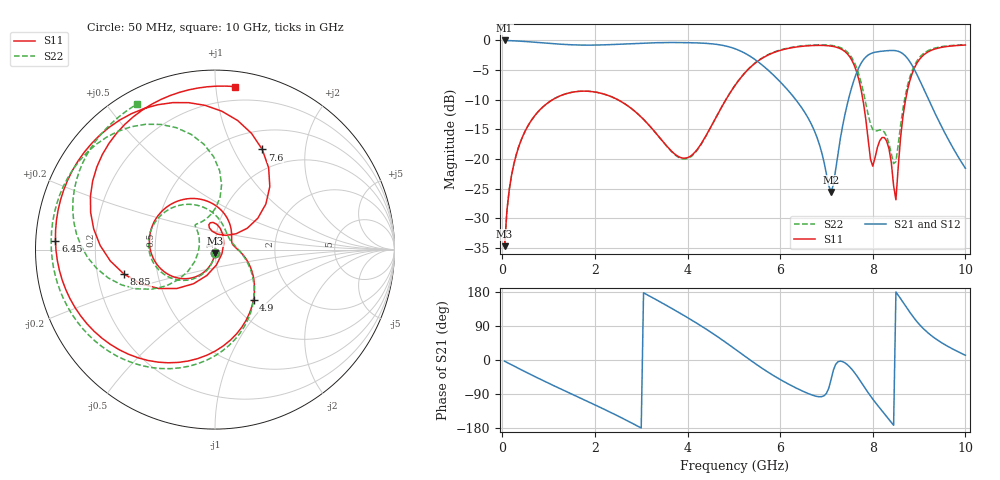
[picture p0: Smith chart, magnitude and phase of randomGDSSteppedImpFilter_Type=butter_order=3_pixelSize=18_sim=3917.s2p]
! freq	dB(S11)	phase(S11)	dB(S12)	phase(S12)
!  dB(S21)	phase(S21)	dB(S22)	phase(S22)
!S-par simulation data
#  GHz  S  DB  R 50
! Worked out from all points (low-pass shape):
!   200 points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, 50 MHz to 10 GHz, reference 50 ohm
!   highest |S21| = 0.00 dB at 50 MHz (marker M1); lowest = -25.6 dB at 7.1 GHz (marker M2)
!   |S21| within 3 dB of the highest: start of sweep to 5.417 GHz; 7.826 GHz to 8.746 GHz (920.5 MHz wide, 11.1 % of centre)
!   lowest |S11| = -34.7 dB at 50 MHz (marker M3), VSWR 1.04, Z = 49.9 - j1.83 ohm
!   |S11| at or under -10 dB: start of sweep to 1.086 GHz; 2.494 GHz to 4.828 GHz (2.334 GHz wide, 63.7 % of centre); 7.787 GHz to 8.709 GHz (922.4 MHz wide, 11.2 % of centre)
!   |S22| runs from -34.7 to -0.7 dB; largest |S21 - S12| = 0
!   S11 on the Smith chart (normalised r, x): 50 MHz: 1.00, -0.04; 4.9 GHz: 1.26, -0.80; 6.45 GHz: 0.06, +0.03; 7.6 GHz: 0.72, +1.31; 8.85 GHz: 0.32, -0.12; 10 GHz: 0.10, +1.12
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0.05  -34.70 -93.1  -0.00 -3.2  -0.00 -3.2  -34.70 -92.9
0.2  -22.74 -103.3  -0.05 -12.7  -0.05 -12.7  -22.73 -102.5
0.5  -15.19 -122.9  -0.18 -31.4  -0.18 -31.4  -15.19 -120.8
1.75  -8.55 161.5  -0.79 -104.1  -0.79 -104.1  -8.55 169.5
2.7  -10.98 102.5  -0.57 -160.3  -0.57 -160.3  -10.97 117.1
3.4  -16.41 54.5  -0.37 154.0  -0.37 154.0  -16.44 74.9
4.2  -18.48 3.8  -0.42 97.0  -0.42 97.0  -18.60 7.4
4.9  -9.08 -52.4  -1.09 39.9  -1.09 39.9  -9.04 -52.5
5.05  -7.32 -66.3  -1.47 26.7  -1.47 26.7  -7.28 -65.1
5.7  -2.61 -125.5  -4.73 -29.1  -4.73 -29.1  -2.56 -118.0
6.45  -1.01 176.7  -11.18 -80.1  -11.18 -80.1  -0.94 -168.0
6.7  -0.86 158.6  -14.55 -92.9  -14.55 -92.9  -0.78 176.9
7.1  -0.96 126.3  -25.56 -51.4  -25.56 -51.4  -0.83 150.4
7.4  -1.88 93.9  -12.46 -7.5  -12.46 -7.5  -1.64 124.3
7.6  -4.19 64.7  -6.55 -32.4  -6.55 -32.4  -3.66 101.7
7.95  -20.01 52.6  -2.25 -94.8  -2.25 -94.8  -14.08 96.3
8.35  -18.26 76.2  -1.71 -156.4  -1.71 -156.4  -17.39 134.9
8.5  -26.88 -31.7  -1.74 179.5  -1.74 179.5  -20.43 -169.9
8.65  -12.95 -122.3  -2.25 153.0  -2.25 153.0  -11.58 -140.6
8.85  -5.59 -165.0  -4.21 117.5  -4.21 117.5  -5.09 -159.3
9.2  -1.90 145.1  -9.88 70.8  -9.88 70.8  -1.70 164.5
10  -0.77 83.2  -21.56 12.5  -21.56 12.5  -0.73 118.1
